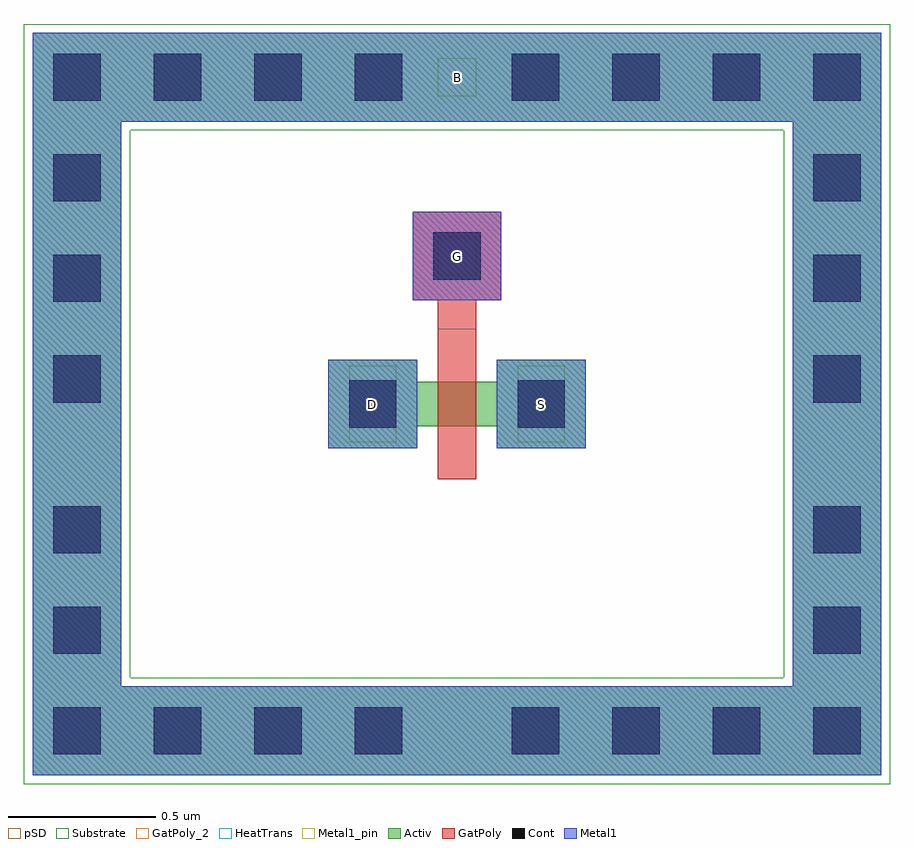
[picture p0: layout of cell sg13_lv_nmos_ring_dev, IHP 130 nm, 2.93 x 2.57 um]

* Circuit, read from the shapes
.subckt sg13_lv_nmos_ring_dev B D G S
XM1 S G D B sg13_lv_nmos w=0.15u l=0.13u
.ends

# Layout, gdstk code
from math import pi, radians
import gdstk
lib = gdstk.Library(unit=1e-6, precision=5e-09)
def R(c, l, rs):  # rectangles x0, y0, x1, y1
    for r in rs: c.add(gdstk.rectangle(r[:2], r[2:], *l))
def A(c, l, x, y, w, h, nx, ny, dx, dy):  # array of equal rectangles
    R(c, l, [(x+i*dx, y+j*dy, x+i*dx+w, y+j*dy+h) for i in range(nx) for j in range(ny)])
def P(c, l, *ps):  # polygons
    for p in ps: c.add(gdstk.Polygon(p, *l))
Activ = (1, 0)
GatPoly = (5, 0)
GatPoly_2 = (5, 2)
Cont = (6, 0)
Metal1 = (8, 0)
Metal1_pin = (8, 2)
pSD = (14, 0)
Substrate = (40, 0)
HeatTrans = (51, 0)

via = lib.new_cell('Via')
R(via, GatPoly, [(-0.15,-0.15,0.15,0.15)])
R(via, Cont, [(-0.08,-0.08,0.08,0.08)])
R(via, Metal1, [(-0.13,-0.08,0.13,0.08)])

nmos = lib.new_cell('nmos')
R(nmos, Activ, [(-1,-0.805,-0.7,1.105), (1.57,-0.805,1.87,1.105), (0,0,0.3,0.3), (0.57,0,0.87,0.3), (0,0.075,0.87,0.225), (-1,1.105,1.87,1.405)])
P(nmos, Activ, [(-1,-1.105),(-1,1.105),(-0.7,1.105),(-0.7,-0.805),(1.57,-0.805),(1.57,1.105),(-1,1.105),(-1,1.405),(1.87,1.405),(1.87,-1.105)])
R(nmos, GatPoly, [(0.37,-0.105,0.5,0.405)])
R(nmos, GatPoly_2, [(0.37,-0.105,0.5,0.405)])
A(nmos, Cont, -0.93, -1.035, 0.16, 0.16, 4, 2, 0.34, 2.21)
A(nmos, Cont, 0.62, -1.035, 0.16, 0.16, 4, 2, 0.34, 2.21)
A(nmos, Cont, -0.93, 0.155, 0.16, 0.16, 1, 3, 0, 0.34)
A(nmos, Cont, 1.64, 0.155, 0.16, 0.16, 1, 3, 0, 0.34)
R(nmos, Cont, [(-0.93,-0.695,-0.77,-0.535), (1.64,-0.695,1.8,-0.535), (-0.93,-0.355,-0.77,-0.195), (1.64,-0.355,1.8,-0.195), (0.07,0.07,0.23,0.23), (0.64,0.07,0.8,0.23)])
R(nmos, Metal1, [(-1,-1.105,1.87,-0.805), (-1,-0.805,-0.7,1.105), (1.57,-0.805,1.87,1.105), (0.07,0.02,0.23,0.28), (0.64,0.02,0.8,0.28), (-1,1.105,1.87,1.405)])
R(nmos, Metal1_pin, [(0.07,0.02,0.23,0.28), (0.64,0.02,0.8,0.28)])
R(nmos, pSD, [(-1.03,-0.775,-0.67,1.075), (1.54,-0.775,1.9,1.075), (-1.03,1.075,1.9,1.435)])
P(nmos, pSD, [(-1.03,-1.135),(-1.03,1.075),(-0.67,1.075),(-0.67,-0.775),(1.54,-0.775),(1.54,1.075),(-1.03,1.075),(-1.03,1.435),(1.9,1.435),(1.9,-1.135)])
R(nmos, Substrate, [(-1.03,-0.775,-0.67,1.075), (1.54,-0.775,1.9,1.075), (-1.03,1.075,1.9,1.435)])
P(nmos, Substrate, [(-1.03,-1.135),(-1.03,1.075),(-0.67,1.075),(-0.67,-0.775),(1.54,-0.775),(1.54,1.075),(-1.03,1.075),(-1.03,1.435),(1.9,1.435),(1.9,-1.135)])
R(nmos, HeatTrans, [(0.37,-0.105,0.5,0.405)])
nmos.add(gdstk.Label('nmos', (0.435,0.15), layer=63, texttype=0))
nmos.add(gdstk.Label('sub!', (0.435,-0.955), layer=63, texttype=0))
nmos.add(gdstk.Label('nmos', (0.435,0.15), layer=51, texttype=0))

sg13_lv_nmos_ring_dev = lib.new_cell('sg13_lv_nmos_ring_dev')
R(sg13_lv_nmos_ring_dev, GatPoly, [(0.37,0.405,0.5,0.5)])
R(sg13_lv_nmos_ring_dev, Metal1, [(0,0,0.3,0.3), (0.57,0,0.87,0.3), (0.285,0.5,0.585,0.8)])
R(sg13_lv_nmos_ring_dev, Metal1_pin, [(0.085,0.085,0.215,0.215), (0.655,0.085,0.785,0.215), (0.37,0.585,0.5,0.715), (0.37,1.19,0.5,1.32)])
sg13_lv_nmos_ring_dev.add(gdstk.Reference(via, (0.435,0.65), rotation=3*pi/2))
sg13_lv_nmos_ring_dev.add(gdstk.Reference(nmos, (0,0)))
sg13_lv_nmos_ring_dev.add(gdstk.Label('G', (0.435,0.65), layer=8, texttype=25))
sg13_lv_nmos_ring_dev.add(gdstk.Label('B', (0.435,1.255), layer=8, texttype=25))
sg13_lv_nmos_ring_dev.add(gdstk.Label('D', (0.15,0.15), layer=8, texttype=25))
sg13_lv_nmos_ring_dev.add(gdstk.Label('S', (0.72,0.15), layer=8, texttype=25))

lib.write_gds('sg13_lv_nmos_ring_dev.gds')
